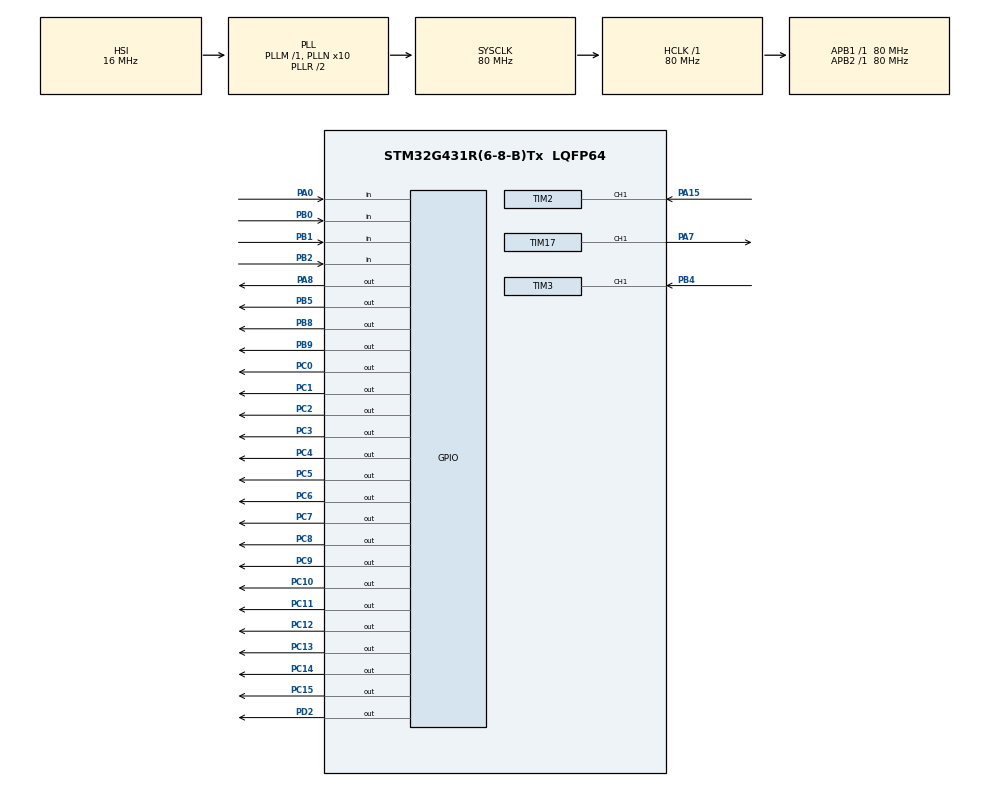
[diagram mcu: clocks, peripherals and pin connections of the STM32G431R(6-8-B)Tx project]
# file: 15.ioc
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Mcu.Family=STM32G4
Mcu.Name=STM32G431R(6-8-B)Tx
Mcu.Package=LQFP64
NVIC.PriorityGroup=NVIC_PRIORITYGROUP_4
NVIC.TIM1_TRG_COM_TIM17_IRQn=true\:0\:0\:false\:false\:true\:true\:true
NVIC.TIM2_IRQn=true\:0\:0\:false\:false\:true\:true\:true
NVIC.TIM3_IRQn=true\:0\:0\:false\:false\:true\:true\:true
NVIC.TIM4_IRQn=true\:0\:0\:false\:false\:true\:true\:true
PA0.GPIO_Mode=GPIO_MODE_INPUT
PA0.GPIO_PuPd=GPIO_PULLUP
PA0.Signal=GPIO_Input
PA13.Mode=Serial_Wire
PA13.Signal=SYS_JTMS-SWDIO
PA14.Mode=Serial_Wire
PA14.Signal=SYS_JTCK-SWCLK
PA15.Signal=S_TIM2_CH1
PA7.Signal=S_TIM17_CH1
PA8.Signal=GPIO_Output
PB0.GPIO_PuPd=GPIO_PULLUP
PB0.Signal=GPIO_Input
PB1.GPIO_PuPd=GPIO_PULLUP
PB1.Signal=GPIO_Input
PB2.GPIO_PuPd=GPIO_PULLUP
PB2.Signal=GPIO_Input
PB4.Signal=S_TIM3_CH1
PB5.Signal=GPIO_Output
PB8-BOOT0.Signal=GPIO_Output
PB9.Signal=GPIO_Output
PC0.Signal=GPIO_Output
PC1.Signal=GPIO_Output
PC10.Signal=GPIO_Output
PC11.Signal=GPIO_Output
PC12.Signal=GPIO_Output
PC13.Signal=GPIO_Output
PC14-OSC32_IN.Signal=GPIO_Output
PC15-OSC32_OUT.Signal=GPIO_Output
PC2.Signal=GPIO_Output
PC3.Signal=GPIO_Output
PC4.Signal=GPIO_Output
PC5.Signal=GPIO_Output
PC6.Signal=GPIO_Output
PC7.Signal=GPIO_Output
PC8.Signal=GPIO_Output
PC9.Signal=GPIO_Output
PD2.Signal=GPIO_Output
PF0-OSC_IN.Mode=HSE-External-Oscillator
PF0-OSC_IN.Signal=RCC_OSC_IN
PF1-OSC_OUT.Mode=HSE-External-Oscillator
PF1-OSC_OUT.Signal=RCC_OSC_OUT
ProjectManager.HeapSize=0x200
ProjectManager.StackSize=0x400
ProjectManager.TargetToolchain=MDK-ARM V5
RCC.ADC12Freq_Value=80000000
RCC.AHBFreq_Value=80000000
RCC.APB1Freq_Value=80000000
RCC.APB1TimFreq_Value=80000000
RCC.APB2Freq_Value=80000000
RCC.APB2TimFreq_Value=80000000
RCC.CortexFreq_Value=80000000
RCC.EXTERNAL_CLOCK_VALUE=12288000
RCC.HCLKFreq_Value=80000000
RCC.HSE_VALUE=8000000
RCC.HSI48_VALUE=48000000
RCC.HSI_VALUE=16000000
RCC.LSE_VALUE=32768
RCC.PLLN=10
RCC.SYSCLKFreq_VALUE=80000000
RCC.SYSCLKSource=RCC_SYSCLKSOURCE_PLLCLK
RCC.USBFreq_Value=80000000
RCC.VCOOutputFreq_Value=160000000
SH.S_TIM17_CH1.0=TIM17_CH1,PWM Generation1 CH1
SH.S_TIM2_CH1.0=TIM2_CH1,Input_Capture1_from_TI1
SH.S_TIM3_CH1.0=TIM3_CH1,Input_Capture1_from_TI1
TIM17.Channel=TIM_CHANNEL_1
TIM17.PeriodNoDither=100-1
TIM17.Prescaler=80-1
TIM17.PulseNoDither_1=50
TIM2.Channel-Input_Capture1_from_TI1=TIM_CHANNEL_1
TIM2.Prescaler=80-1
TIM3.Channel-Input_Capture1_from_TI1=TIM_CHANNEL_1
TIM3.Prescaler=80-1
TIM4.PeriodNoDither=1000-1
TIM4.Prescaler=80-1
VP_SYS_VS_DBSignals.Mode=DisableDeadBatterySignals
VP_TIM17_VS_ClockSourceINT.Mode=Enable_Timer
VP_TIM2_VS_ClockSourceINT.Mode=Internal
VP_TIM3_VS_ClockSourceINT.Mode=Internal
VP_TIM4_VS_ClockSourceINT.Mode=Internal
board=custom

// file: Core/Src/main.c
/* USER CODE BEGIN Header */
/**
  ******************************************************************************
  * @file           : main.c
  * @brief          : Main program body
  ******************************************************************************
  * @attention
  *
  * <h2><center>&copy; Copyright (c) 2024 STMicroelectronics.
  * All rights reserved.</center></h2>
  *
  * This software component is licensed by ST under BSD 3-Clause license,
  * the "License"; You may not use this file except in compliance with the
  * License. You may obtain a copy of the License at:
  *                        opensource.org/licenses/BSD-3-Clause
  *
  ******************************************************************************
  */
/* USER CODE END Header */
#include "main.h"
#include "tim.h"
#include "gpio.h"

/* USER CODE BEGIN Includes */

#include "lcd.h"
#include "interrupt.h"
#include "stdio.h"
#include "string.h"
#include "stdbool.h"

/* USER CODE END Includes */

/* USER CODE BEGIN PV */

extern keys key[4];

extern unsigned int counters;
extern unsigned int time;
//时间判定

//id and pressed flag
struct KEYMSG {
  unsigned char id;
  bool p;
}key_msg;

char text[20];

extern int frq1,frq2;
extern int temp1,temp2;

int a_tm;
int b_tm;

short int pd_number = 1000;
short int ph_number = 5000;
short int px_number = 0;

short int nda_number = 0;
short int ndb_number = 0;
short int nha_number = 0;
short int nhb_number = 0;

unsigned char nda_flag = 0;
unsigned char ndb_flag = 0;
unsigned char nha_flag = 0;
unsigned char nhb_flag = 0;
unsigned char pda_flag = 0;
unsigned char pdb_flag = 0;

short int a_hz = 0;
short int b_hz = 0;

short int a_temp = 0;
short int b_temp = 0;
short int a_min = 0;
short int b_min = 0;
short int a_max = 0;
short int b_max = 0;
short int a_max_tick = 0;
short int b_max_tick = 0;
short int a_min_tick = 0;
short int b_min_tick = 0;
unsigned char a_up_flag = 0;
unsigned char b_up_flag = 0;

unsigned char menu_sta = 0;
unsigned char pinglv_flag = 0;
unsigned char choose_flag = 1;

enum MENUSTA{
  DATA,PARA,RECD
};

/* USER CODE END PV */

void SystemClock_Config(void);
/* USER CODE BEGIN PFP */

void Londoge_Function(void);
void Londoge_KeyFunction(void);
void Londoge_KeyMsg(void);
void Londoge_Init(void);
void Londoge_Show(void);

/* USER CODE END PFP */

int main(void)
{

  /* MCU Configuration--------------------------------------------------------*/

  /* Reset of all peripherals, Initializes the Flash interface and the Systick. */
  HAL_Init();

  /* Configure the system clock */
  SystemClock_Config();

  /* Initialize all configured peripherals */
  MX_GPIO_Init();
  MX_TIM2_Init();
  MX_TIM3_Init();
  MX_TIM4_Init();
  MX_TIM17_Init();
  /* USER CODE BEGIN 2 */
  Londoge_Init();
  /* USER CODE END 2 */

  /* Infinite loop */
  /* USER CODE BEGIN WHILE */
  while (1)
  {
    Londoge_KeyMsg();
    Londoge_KeyFunction();
    Londoge_Function();
    Londoge_Show();
    /* USER CODE END WHILE */

  }
}

void SystemClock_Config(void)
{
  RCC_OscInitTypeDef RCC_OscInitStruct = {0};
  RCC_ClkInitTypeDef RCC_ClkInitStruct = {0};

  /** Configure the main internal regulator output voltage
  */
  HAL_PWREx_ControlVoltageScaling(PWR_REGULATOR_VOLTAGE_SCALE1);
  /** Initializes the RCC Oscillators according to the specified parameters
  * in the RCC_OscInitTypeDef structure.
  */
  RCC_OscInitStruct.OscillatorType = RCC_OSCILLATORTYPE_HSI;
  RCC_OscInitStruct.HSIState = RCC_HSI_ON;
  RCC_OscInitStruct.HSICalibrationValue = RCC_HSICALIBRATION_DEFAULT;
  RCC_OscInitStruct.PLL.PLLState = RCC_PLL_ON;
  RCC_OscInitStruct.PLL.PLLSource = RCC_PLLSOURCE_HSI;
  RCC_OscInitStruct.PLL.PLLM = RCC_PLLM_DIV1;
  RCC_OscInitStruct.PLL.PLLN = 10;
  RCC_OscInitStruct.PLL.PLLP = RCC_PLLP_DIV2;
  RCC_OscInitStruct.PLL.PLLQ = RCC_PLLQ_DIV2;
  RCC_OscInitStruct.PLL.PLLR = RCC_PLLR_DIV2;
  if (HAL_RCC_OscConfig(&RCC_OscInitStruct) != HAL_OK)
  {
    Error_Handler();
  }
  /** Initializes the CPU, AHB and APB buses clocks
  */
  RCC_ClkInitStruct.ClockType = RCC_CLOCKTYPE_HCLK|RCC_CLOCKTYPE_SYSCLK
                              |RCC_CLOCKTYPE_PCLK1|RCC_CLOCKTYPE_PCLK2;
  RCC_ClkInitStruct.SYSCLKSource = RCC_SYSCLKSOURCE_PLLCLK;
  RCC_ClkInitStruct.AHBCLKDivider = RCC_SYSCLK_DIV1;
  RCC_ClkInitStruct.APB1CLKDivider = RCC_HCLK_DIV1;
  RCC_ClkInitStruct.APB2CLKDivider = RCC_HCLK_DIV1;

  if (HAL_RCC_ClockConfig(&RCC_ClkInitStruct, FLASH_LATENCY_2) != HAL_OK)
  {
    Error_Handler();
  }
}

/* USER CODE BEGIN 4 */
void Londoge_Function(void)
{
  if(px_number > 1000)
    px_number = 1000;
  if(px_number < -1000)
    px_number = -1000;

  if(pd_number < 100)
    pd_number = 100;
  if(pd_number > 1000)
    pd_number = 1000;

  if(ph_number < 1000)
    ph_number = 1000;
  if(ph_number > 10000)
    ph_number = 10000;

  a_hz = frq1 + px_number;
  b_hz = frq2 + px_number;

  if(a_hz > 0)
  {
    a_tm = 1000000/a_hz;
  }
  if(b_hz > 0)
  {
    b_tm = 1000000/b_hz;
  }

//超限判定
  if(ph_number <= a_hz)
  {
    if(nha_flag == 0)
    {
      nha_number += 1;
      nha_flag = 1;
    }
  }
  else
  {
    nha_flag = 0;
  }
  if(ph_number <= b_hz)
  {
    if(nhb_flag == 0)
    {
      nhb_number += 1;
      nhb_flag = 1;
    }
  }
  else
  {
    nhb_flag = 0;
  }

  //频率突变判定
  //依据时间tick counters 判定
  if(time >= 30)
  {
    time = 0;
    a_max = a_hz;
    a_min = a_hz;
    b_max = b_hz;
    b_min = b_hz;
    pda_flag = 1;
    pdb_flag = 1;
  }
  else
  {
    if(a_hz > a_max)
      a_max = a_hz;
    if(a_hz < a_min)
      a_min = a_hz;
    if(a_max - a_min > pd_number && pda_flag == 1)
    {
      nda_number += 1;
      pda_flag = 0;
    }

    if(b_hz > b_max)
      b_max = b_hz;
    if(b_hz < b_min)
      b_min = b_hz;
    if(b_max - b_min > pd_number && pdb_flag == 1)
    {
      ndb_number += 1;
      pdb_flag = 0;
    }
  }

  //依据上升趋势判断是否是突�?
  //如果下降那么�?定不是突�?
  // if(a_hz > a_temp)
  // {
  //   a_up_flag = 1;//正在上升
  //   a_min = a_temp;
  //   a_min_tick = time;
  // }
  // if(a_hz < a_temp)
  // {
  //   a_up_flag = 0;//�?始下�?
  //   a_max = a_temp;
  //   if(time - a_min_tick <= 30 && a_max - a_min >= pd_number)
  //     nda_number += 1;
  // }

  // a_temp = a_hz;

}

void Londoge_KeyFunction(void)
{
  if(key_msg.p == 1)
  {
    key_msg.p = 0;
    switch (key_msg.id)
    {
      case 0:
          if(menu_sta == PARA)
          {
            switch (choose_flag)
            {
              case 1:
                  pd_number += 100;
                break;
              case 2:
                  ph_number += 100;
                break;
              case 3:
                  px_number += 100;
                break;
              default:
                break;
            }
          }
        break;
      case 1:
          if(menu_sta == PARA)
          {
            switch (choose_flag)
            {
              case 1:
                  pd_number -= 100;
                break;
              case 2:
                  ph_number -= 100;
                break;
              case 3:
                  px_number -= 100;
                break;
              default:
                break;
            }
          }
        break;
      case 2:
          switch (menu_sta)
          {
            case DATA:
                if(pinglv_flag == 0)
                  pinglv_flag = 1;
                else
                  pinglv_flag = 0;

              break;
            case PARA:
                choose_flag ++;
                if(choose_flag >= 4)
                {
                  choose_flag = 1;
                }
              break;

            default:
              break;
          }
        break;
      case 3:
          menu_sta += 1;
          if(menu_sta >= 3)
          {
            menu_sta = 0;
            pinglv_flag = 0;
            choose_flag = 1;
          }
        break;
      case 6:
          if(menu_sta == RECD)
          {
            nda_number = 0;
            ndb_number = 0;
            nha_number = 0;
            nhb_number = 0;
          }
        break;

      default:
        break;
    }
  }
}

//提取按键信息
void Londoge_KeyMsg(void)
{
  for(unsigned char i = 0;i < 4;i ++ )
  {
    if(key[i].single_flag == 1)
    {
      key_msg.p = 1;
      key_msg.id = i;
      key[i].single_flag = 0;
    }
    if(key[i].long_flag == 1)
    {
      key_msg.p = 1;
      key_msg.id = i+4;
      key[i].long_flag = 0;
    }
  }

}

void Londoge_Init(void)
{
  HAL_TIM_Base_Start_IT(&htim4);  //按键扫描
  HAL_TIM_IC_Start_IT(&htim2,TIM_CHANNEL_1);
  HAL_TIM_IC_Start_IT(&htim3,TIM_CHANNEL_1);
  //HAL_TIM_PWM_Start(&htim17,TIM_CHANNEL_1); //校准用pwm发生 PA7 占空�?50% 频率1000

  LCD_Init();
  LCD_SetBackColor(Black);
  LCD_SetTextColor(White);

  LCD_Clear(Black);
  HAL_GPIO_WritePin(GPIOD,GPIO_PIN_2,GPIO_PIN_SET);
  GPIOC->BSRR = 0xff00;
  HAL_GPIO_WritePin(GPIOD,GPIO_PIN_2,GPIO_PIN_RESET);

//突变数�?�初始化
  a_max = a_hz;
  a_min = a_hz;
}

void Londoge_Show(void)
{
  // number show for Debug
  // sprintf(text," %d %d %d ",frq1,a_max,a_min);
  // LCD_DisplayStringLine(Line8,(u8*)text);
  // sprintf(text,"     %d     ",frq2);
  // LCD_DisplayStringLine(Line9,(u8*)text);

  switch (menu_sta)
  {
    case DATA:
      sprintf(text,"        DATA        ");
      LCD_DisplayStringLine(Line1,(u8*)text);
      if(pinglv_flag == 0)
      {
        if(a_hz < 1000)
          sprintf(text,"     A=%dHz      ",a_hz);
        else
          sprintf(text,"     A=%.2fkHz     ",(float)a_hz/1000);
        if(a_hz < 0)
          sprintf(text,"     A=NULL      ");
        LCD_DisplayStringLine(Line3,(u8*)text);
        if(b_hz < 1000)
          sprintf(text,"     B=%dHz      ",b_hz);
        else
          sprintf(text,"     B=%.2fkHz     ",(float)b_hz/1000);
        if(b_hz < 0)
          sprintf(text,"     B=NULL      ");
        LCD_DisplayStringLine(Line4,(u8*)text);
      }
      else
      {
        if(a_tm < 1000)
          sprintf(text,"     A=%duS      ",a_tm);
        else
          sprintf(text,"     A=%.2fmS     ",(float)a_tm/1000);
        if(a_hz < 0)
          sprintf(text,"     A=NULL      ");
        LCD_DisplayStringLine(Line3,(u8*)text);
        memset(text,0,sizeof(text));
        if(b_tm < 1000)
          sprintf(text,"     B=%duS      ",b_tm);
        else
          sprintf(text,"     B=%.2fmS     ",(float)b_tm/1000);
        if(b_hz < 0)
          sprintf(text,"     B=NULL      ");
        LCD_DisplayStringLine(Line4,(u8*)text);
      }

      sprintf(text,"                    ");
      LCD_DisplayStringLine(Line5,(u8*)text);
      sprintf(text,"                    ");
      LCD_DisplayStringLine(Line6,(u8*)text);
      break;

    case PARA:
      sprintf(text,"        PARA        ");
      LCD_DisplayStringLine(Line1,(u8*)text);
      sprintf(text,"     PD=%dHz      ",pd_number);
      LCD_DisplayStringLine(Line3,(u8*)text);
      sprintf(text,"     PH=%dHz     ",ph_number);
      LCD_DisplayStringLine(Line4,(u8*)text);
      sprintf(text,"     PX=%dHz     ",px_number);
      LCD_DisplayStringLine(Line5,(u8*)text);

      switch (choose_flag)
      {
        case 0:

          break;
        case 1:
          sprintf(text,"    >");
          LCD_DisplayStringLine(Line3,(u8*)text);
          break;
        case 2:
          sprintf(text,"    >");
          LCD_DisplayStringLine(Line4,(u8*)text);
          break;
        case 3:
          sprintf(text,"    >");
          LCD_DisplayStringLine(Line5,(u8*)text);
          break;

        default:
          break;
      }
      break;
    case RECD:
      sprintf(text,"        RECD        ");
      LCD_DisplayStringLine(Line1,(u8*)text);
      sprintf(text,"     NDA=%d      ",nda_number);
      LCD_DisplayStringLine(Line3,(u8*)text);
      sprintf(text,"     NDB=%d      ",ndb_number);
      LCD_DisplayStringLine(Line4,(u8*)text);
      sprintf(text,"     NHA=%d     ",nha_number);
      LCD_DisplayStringLine(Line5,(u8*)text);
      sprintf(text,"     NHB=%d     ",nhb_number);
      LCD_DisplayStringLine(Line6,(u8*)text);
      break;

    default:
      break;
  }

  //LED显示�?�?
  HAL_GPIO_WritePin(GPIOD,GPIO_PIN_2,GPIO_PIN_SET);
  GPIOC->BSRR = 0xff00;
  if(menu_sta == DATA)
    HAL_GPIO_WritePin(GPIOC,GPIO_PIN_8,GPIO_PIN_RESET);
  if(a_hz > ph_number)
    HAL_GPIO_WritePin(GPIOC,GPIO_PIN_9,GPIO_PIN_RESET);
  if(b_hz > ph_number)
    HAL_GPIO_WritePin(GPIOC,GPIO_PIN_10,GPIO_PIN_RESET);
  if(nda_number >= 3 || ndb_number >= 3)
    HAL_GPIO_WritePin(GPIOC,GPIO_PIN_15,GPIO_PIN_RESET);
  HAL_GPIO_WritePin(GPIOD,GPIO_PIN_2,GPIO_PIN_RESET);
}
/* USER CODE END 4 */

void Error_Handler(void)
{
  __disable_irq();
  while (1)
  {
  }
}

/************************ (C) COPYRIGHT STMicroelectronics *****END OF FILE****/
